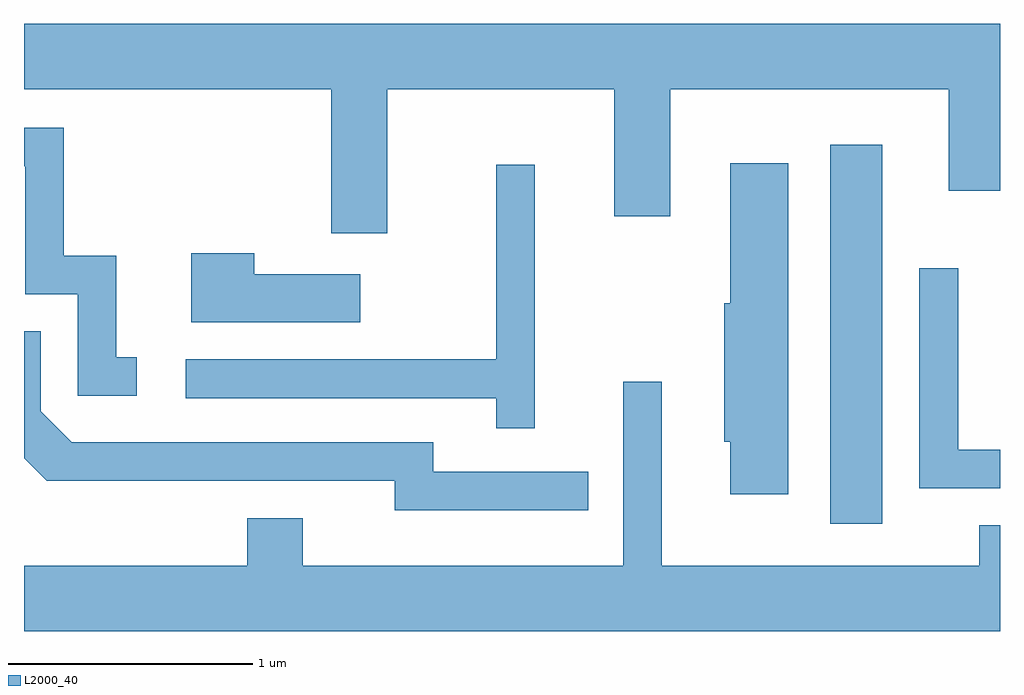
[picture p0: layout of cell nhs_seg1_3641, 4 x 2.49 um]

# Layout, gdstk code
import gdstk
lib = gdstk.Library(unit=1e-6, precision=1e-09)
def R(c, l, rs):  # rectangles x0, y0, x1, y1
    for r in rs: c.add(gdstk.rectangle(r[:2], r[2:], *l))
def P(c, l, *ps):  # polygons
    for p in ps: c.add(gdstk.Polygon(p, *l))
L2000_40 = (2000, 40)

nhs_seg1_3641 = lib.new_cell('nhs_seg1_3641')
R(nhs_seg1_3641, L2000_40, [(298.916,853.396,299.129,854.949)])
P(nhs_seg1_3641, L2000_40, [(297.099,855.176),(298.031,855.176),(298.031,854.656),(298.259,854.656),(298.259,855.176),(299.401,855.176),(299.401,854.761),(299.611,854.761),(299.611,855.444),(295.611,855.444),(295.611,855.176),(296.871,855.176),(296.871,854.586),(297.099,854.586)],
  [(296.073,854.079),(295.989,854.079),(295.989,854.494),(295.774,854.494),(295.774,855.019),(295.611,855.019),(295.611,854.861),(295.616,854.861),(295.616,854.336),(295.831,854.336),(295.831,853.921),(296.073,853.921)],
  [(298.744,854.874),(298.506,854.874),(298.506,854.299),(298.481,854.299),(298.481,853.731),(298.506,853.731),(298.506,853.516),(298.744,853.516)],
  [(297.704,854.868),(297.546,854.868),(297.546,854.069),(296.273,854.069),(296.273,853.911),(297.546,853.911),(297.546,853.788),(297.704,853.788)],
  [(296.989,854.419),(296.554,854.419),(296.554,854.504),(296.296,854.504),(296.296,854.221),(296.989,854.221)],
  [(299.611,853.699),(299.439,853.699),(299.439,854.443),(299.281,854.443),(299.281,853.541),(299.611,853.541)],
  [(297.923,853.609),(297.289,853.609),(297.289,853.729),(295.807,853.729),(295.679,853.857),(295.679,854.184),(295.611,854.184),(295.611,853.664),(295.704,853.571),(297.131,853.571),(297.131,853.451),(297.923,853.451)],
  [(299.611,853.389),(299.526,853.389),(299.526,853.224),(298.224,853.224),(298.224,853.978),(298.066,853.978),(298.066,853.224),(296.754,853.224),(296.754,853.419),(296.526,853.419),(296.526,853.224),(295.611,853.224),(295.611,852.956),(299.611,852.956)])

lib.write_gds('nhs_seg1_3641.gds')
